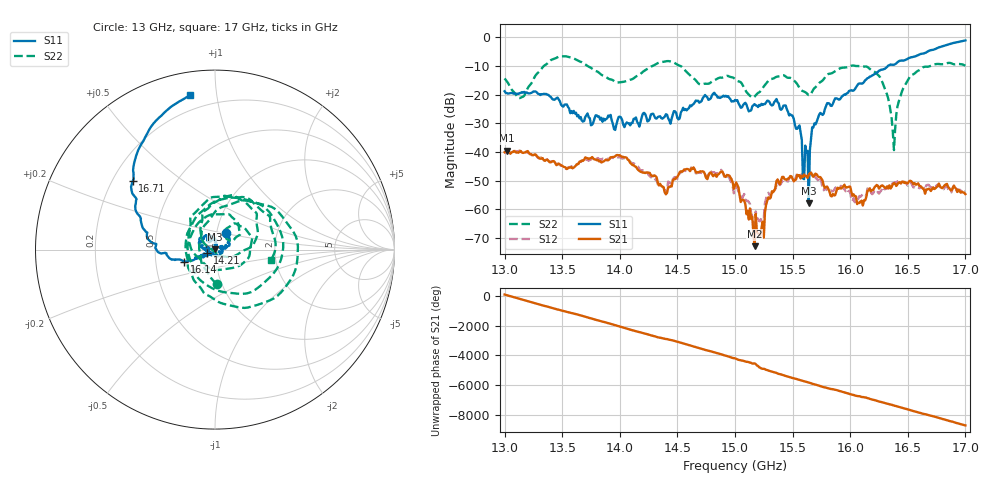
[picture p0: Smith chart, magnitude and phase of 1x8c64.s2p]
!Keysight Technologies,P9374A,MY57211807,A.19.30.04
!Date: Friday, May 08, 2026 15:13:04
!Correction: S11(C  2-Port  )
!S21(C  2-Port  )
!S12(C  2-Port  )
!S22(C  2-Port  )
!S2P File: Measurements: S11, S21, S12, S22:
# Hz S  dB  R 50
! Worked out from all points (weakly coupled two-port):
!   401 points, 13 GHz to 17 GHz, reference 50 ohm
!   highest |S21| = -39.57 dB at 13.02 GHz (marker M1); lowest = -72.8 dB at 15.17 GHz (marker M2)
!   lowest |S11| = -57.8 dB at 15.64 GHz (marker M3), VSWR 1.00, Z = 50 + j0.125 ohm
!   |S11| at or under -10 dB: start of sweep to 16.33 GHz
!   |S22| runs from -39.4 to -6.7 dB; largest |S21 - S12| = 0.0012
!   S11 on the Smith chart (normalised r, x): 13 GHz: 1.11, +0.21; 14.21 GHz: 0.91, -0.03; 16.14 GHz: 0.70, -0.10; 16.71 GHz: 0.28, +0.34; 17 GHz: 0.12, +0.85
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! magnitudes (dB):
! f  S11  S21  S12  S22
! 13 GHz  -18.9  -40.1  -40.4  -14.4
! 13.02 GHz  -19.5  -39.6  -39.7  -15.4
! 13.14 GHz  -19.5  -39.7  -39.7  -21.1
! 13.41 GHz  -21.4  -43.4  -43.2  -7.8
! 13.67 GHz  -29.1  -43.0  -43.3  -8.8
! 13.98 GHz  -29.0  -41.1  -41.9  -15.8
! 14.21 GHz  -26.4  -47.1  -46.6  -11.8
! 14.34 GHz  -27.7  -51.7  -51.5  -8.9
! 14.63 GHz  -23.6  -45.9  -45.8  -14.1
! 15 GHz  -21.9  -51.6  -52.2  -14.6
! 15.17 GHz  -23.3  -72.8  -72.0  -20.7
! 15.23 GHz  -23.2  -66.4  -63.0  -18.4
! 15.3 GHz  -22.6  -56.3  -54.9  -14.8
! 15.44 GHz  -23.8  -49.6  -50.1  -13.7
! 15.64 GHz  -57.8  -48.0  -47.4  -20.2
! 15.67 GHz  -31.4  -48.0  -48.6  -19.0
! 16.14 GHz  -14.8  -55.7  -55.0  -10.2
! 16.34 GHz  -9.8  -51.6  -51.2  -23.3
! 16.38 GHz  -9.7  -50.8  -50.7  -39.4
! 16.5 GHz  -7.5  -50.9  -51.7  -15.0
! 16.71 GHz  -4.5  -52.9  -52.2  -9.8
! 17 GHz  -1.2  -54.7  -53.7  -10.0
